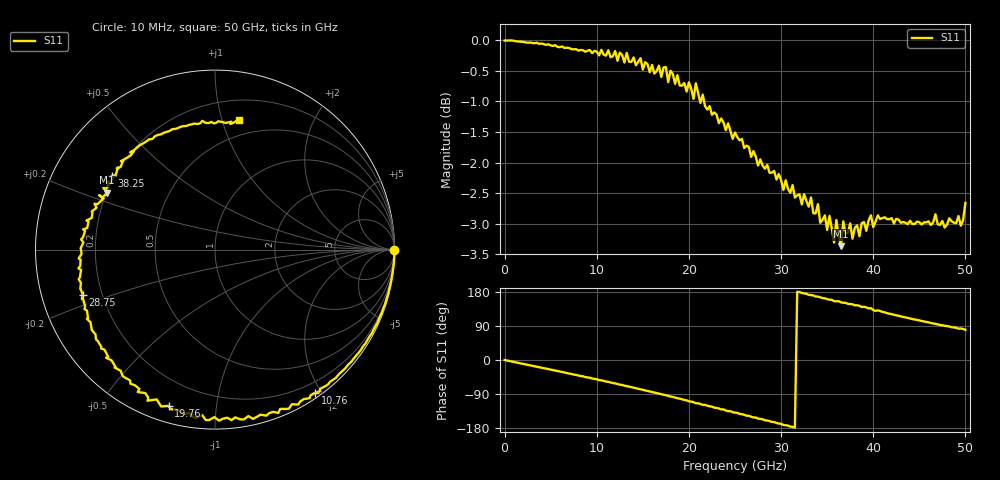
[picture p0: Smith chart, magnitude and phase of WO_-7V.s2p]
!Agilent Technologies,N5227A,US51270434,A.10.00.00
!Agilent N5227A: A.10.00.00
!Date: Friday, February 13, 2026 14:16:54
!Correction: S11(Full 1 Port(1))
!S21(Off)
!S12(Off)
!S22(Off)
!S2P File: Measurements: S11, S21, S12, S22:
# Hz S  dB  R 50
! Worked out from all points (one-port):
!   201 points, 10 MHz to 50 GHz, reference 50 ohm
!   lowest |S11| = -3.4 dB at 36.5 GHz (marker M1), VSWR 5.23, Z = 10.1 + j11.9 ohm
!   |S11| at or under -10 dB: nowhere
!   S11 on the Smith chart (normalised r, x): 10 MHz: open; 10.76 GHz: 0.06, -1.92; 19.76 GHz: 0.08, -0.74; 28.75 GHz: 0.13, -0.16; 38.25 GHz: 0.19, +0.31; 50 GHz: 0.36, +1.13
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1e7  -0.00 0.0  -200.00 45.0  -200.00 45.0  -200.00 45.0
4.0092e9  -0.05 -20.5  -200.00 45.0  -200.00 45.0  -200.00 45.0
8.5083e9  -0.16 -43.0  -200.00 45.0  -200.00 45.0  -200.00 45.0
1.075785e10  -0.23 -55.1  -200.00 45.0  -200.00 45.0  -200.00 45.0
1.325735e10  -0.21 -68.8  -200.00 45.0  -200.00 45.0  -200.00 45.0
1.675665e10  -0.41 -88.6  -200.00 45.0  -200.00 45.0  -200.00 45.0
1.975605e10  -0.84 -106.5  -200.00 45.0  -200.00 45.0  -200.00 45.0
2.15057e10  -0.89 -118.5  -200.00 45.0  -200.00 45.0  -200.00 45.0
2.5005e10  -1.51 -139.1  -200.00 45.0  -200.00 45.0  -200.00 45.0
2.875425e10  -2.17 -161.2  -200.00 45.0  -200.00 45.0  -200.00 45.0
3.125375e10  -2.37 -176.3  -200.00 45.0  -200.00 45.0  -200.00 45.0
3.35033e10  -2.83 170.4  -200.00 45.0  -200.00 45.0  -200.00 45.0
3.575285e10  -3.31 155.4  -200.00 45.0  -200.00 45.0  -200.00 45.0
3.60028e10  -2.94 154.8  -200.00 45.0  -200.00 45.0  -200.00 45.0
3.65027e10  -3.37 152.2  -200.00 45.0  -200.00 45.0  -200.00 45.0
3.825235e10  -3.03 144.5  -200.00 45.0  -200.00 45.0  -200.00 45.0
3.975205e10  -2.86 136.8  -200.00 45.0  -200.00 45.0  -200.00 45.0
4.025195e10  -2.96 129.4  -200.00 45.0  -200.00 45.0  -200.00 45.0
4.05019e10  -2.86 131.1  -200.00 45.0  -200.00 45.0  -200.00 45.0
4.175165e10  -2.92 122.1  -200.00 45.0  -200.00 45.0  -200.00 45.0
4.675065e10  -2.84 95.6  -200.00 45.0  -200.00 45.0  -200.00 45.0
5e10  -2.66 79.6  -200.00 45.0  -200.00 45.0  -200.00 45.0
